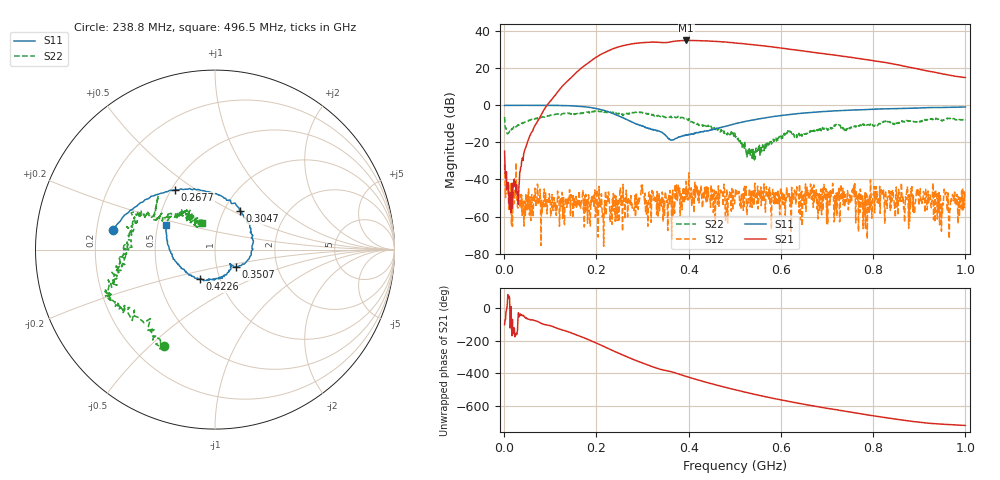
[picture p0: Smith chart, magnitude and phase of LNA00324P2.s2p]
! Created with skrf 1.9.0 (http://scikit-rf.org).
# Hz S RI R 50.0
!freq ReS11 ImS11 ReS21 ImS21 ReS12 ImS12 ReS22 ImS22
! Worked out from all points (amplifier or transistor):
!   1001 points, 1 MHz to 1 GHz, reference 50 ohm
!   highest |S21| = 35.0 dB at 394.6 MHz (marker M1)
!   |S21| within 3 dB of that: 255.2 MHz to 565.5 MHz (310.3 MHz wide, 75.6 % of centre)
!   unconditionally stable (mu >= 1): start of sweep to 71.63 MHz; 298.2 MHz to 400.1 MHz; 400.9 MHz to end of sweep (the widest 3 of 24)
!   at 166.8 MHz: K = 2.43, MAG = 29.7 dB, |S12| = -52.8 dB
!   at 500.5 MHz: K = 3.00, MAG = 34.3 dB, |S12| = -50.2 dB
!   at 1 GHz: K = 3.32, MAG = 23.5 dB, |S12| = -48.3 dB
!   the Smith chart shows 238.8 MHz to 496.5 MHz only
!   S11 on the Smith chart (normalised r, x): 238.8 MHz: 0.27, +0.09; 267.7 MHz: 0.52, +0.41; 304.7 MHz: 1.18, +0.54; 350.6 MHz: 1.24, -0.24; 422.6 MHz: 0.80, -0.27; 496.5 MHz: 0.55, +0.17
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1000000  0.9855 0.00343  -0.0122 -0.0562  -0.0249 -0.00609  0.3181 0.3622
1.08892e8  0.5121 -0.8524  -0.8243 -1.568  0.000885 0.00213  0.43 -0.3575
1.67833e8  -0.2519 -0.8894  -10.18 -0.4944  1.11e-05 -0.00282  0.0548 -0.622
2.08792e8  -0.671 -0.3749  -15.78 16.99  0.0019 -0.00207  -0.2 -0.6412
2.38762e8  -0.5707 0.1116  -2.189 34.37  -0.00109 -0.000986  -0.2838 -0.5387
2.67733e8  -0.2243 0.3318  22.79 36.58  0.000908 -0.00039  -0.487 -0.336
2.84716e8  -0.0253 0.3195  36.57 29.14  -0.000916 0.000324  -0.5837 -0.2727
3.04696e8  0.1371 0.2141  47.52 13.62  -0.00169 -0.00135  -0.5764 -0.2099
3.34666e8  0.2015 -0.0219  48.72 -11.5  -0.0015 -0.000154  -0.522 -0.0399
3.5065e8  0.1186 -0.0956  44.57 -20.52  -0.00158 0.00322  -0.4708 0.0308
3.71629e8  0.0896 -0.0895  41.59 -34.43  -0.00211 0.00315  -0.4321 0.167
3.94606e8  0.0373 -0.1579  27.53 -48.8  0.00499 0.0074  -0.3708 0.2131
4.22578e8  -0.0862 -0.164  5.489 -54.92  -0.000336 0.0023  -0.2196 0.1993
4.55545e8  -0.218 -0.0678  -18.3 -49.78  0.00507 0.000861  -0.1457 0.2053
4.96504e8  -0.2756 0.1391  -36.97 -31.46  0.00113 0.00501  -0.0727 0.1504
5.005e8  -0.2716 0.1587  -38.51 -29.46  -0.00271 0.00149  -0.0918 0.1428
5.4046e8  -0.1839 0.3564  -42.07 -8.231  0.000524 -0.00535  -0.0262 0.0221
5.85415e8  0.0132 0.4993  -35.52 10.53  0.0023 -0.00263  -0.0998 -0.0543
6.67333e8  0.4064 0.4994  -13.23 23.43  0.0037 -0.00545  -0.1924 -0.0565
7.53247e8  0.6831 0.2856  3.744 19.11  0.00186 -0.00153  -0.2455 0.0126
8.34166e8  0.8031 0.0197  9.994 9.37  -0.00352 -0.00352  -0.3602 0.0177
1e9  0.7372 -0.5171  5.617 -0.1759  0.0013 0.00362  -0.2539 0.3209
